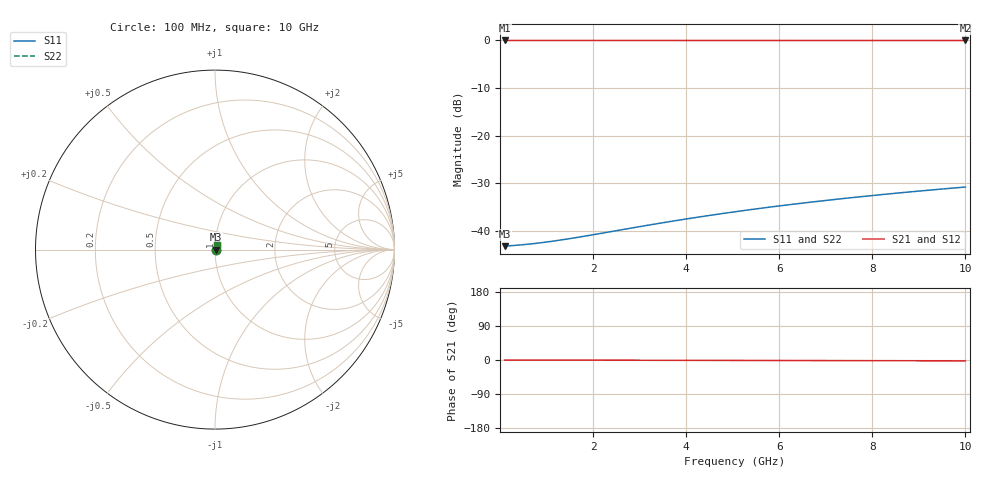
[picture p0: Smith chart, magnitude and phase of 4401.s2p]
# Hz S RI R 50.00
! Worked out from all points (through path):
!   100 points, 100 MHz to 10 GHz, reference 50 ohm
!   highest |S21| = -0.06 dB at 100 MHz (marker M1); lowest = -0.1 dB at 10 GHz (marker M2)
!   lowest |S11| = -43.2 dB at 100 MHz (marker M3), VSWR 1.01, Z = 50.7 + j0.028 ohm
!   |S11| at or under -10 dB: start of sweep to end of sweep
!   |S22| runs from -43.2 to -30.8 dB; largest |S21 - S12| = 0
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1e8  0.00691 0.000276  0.9931 -0.000385  0.9931 -0.000385  0.00691 0.000276
5e8  0.00704 0.00138  0.993 -0.00192  0.993 -0.00192  0.00704 0.00138
7e8  0.00708 0.00193  0.9929 -0.00269  0.9929 -0.00269  0.00708 0.00193
9e8  0.00711 0.00248  0.9929 -0.00346  0.9929 -0.00346  0.00711 0.00248
1.1e9  0.00714 0.00303  0.9929 -0.00423  0.9929 -0.00423  0.00714 0.00303
1.3e9  0.00717 0.00358  0.9928 -0.005  0.9928 -0.005  0.00717 0.00358
1.5e9  0.00719 0.00413  0.9928 -0.00577  0.9928 -0.00577  0.00719 0.00413
1.8e9  0.00723 0.00496  0.9928 -0.00692  0.9928 -0.00692  0.00723 0.00496
2.9e9  0.00736 0.00799  0.9926 -0.0112  0.9926 -0.0112  0.00736 0.00799
3.4e9  0.00742 0.00937  0.9926 -0.0131  0.9926 -0.0131  0.00742 0.00937
3.9e9  0.00748 0.0107  0.9925 -0.015  0.9925 -0.015  0.00748 0.0107
4.3e9  0.00753 0.0118  0.9924 -0.0165  0.9924 -0.0165  0.00753 0.0118
4.7e9  0.00759 0.0129  0.9924 -0.0181  0.9924 -0.0181  0.00759 0.0129
5.1e9  0.00765 0.014  0.9923 -0.0196  0.9923 -0.0196  0.00765 0.014
5.5e9  0.0077 0.0151  0.9923 -0.0211  0.9923 -0.0211  0.0077 0.0151
5.9e9  0.00777 0.0162  0.9922 -0.0227  0.9922 -0.0227  0.00777 0.0162
6.3e9  0.00783 0.0173  0.9921 -0.0242  0.9921 -0.0242  0.00783 0.0173
6.7e9  0.0079 0.0184  0.9921 -0.0258  0.9921 -0.0258  0.0079 0.0184
7.5e9  0.00805 0.0206  0.9919 -0.0288  0.9919 -0.0288  0.00805 0.0206
8.4e9  0.00822 0.0231  0.9917 -0.0323  0.9917 -0.0323  0.00822 0.0231
9.2e9  0.0084 0.0253  0.9915 -0.0354  0.9915 -0.0354  0.0084 0.0253
1e10  0.00858 0.0275  0.9913 -0.0384  0.9913 -0.0384  0.00858 0.0275
